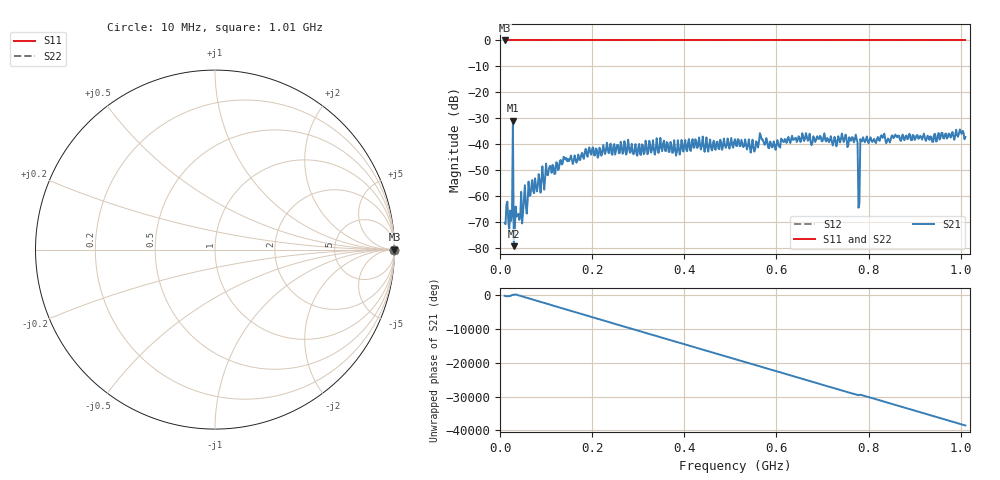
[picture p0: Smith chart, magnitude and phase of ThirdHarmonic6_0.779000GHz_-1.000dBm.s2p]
! 8/16/2025 2:01:00 AM
! C:\ANRITSUVNA\TEMP\TEMP.S2P
! CHANNEL.1
! TR.MEASUREMENT
! RAW.DATA
! RF.CORRECTION.OFF
! AVERAGING.OFF
! IF.BANDWIDTH: 5KHZ
! SWEEPTYPE:  FREQ.SWEEP(Linear)
! Reference Plane Port Info
! PORT:  PORT1  PORT2
! DISTANCE:  0  m  0  m
! TIME:  0  s  0  s
! PHASE.OFFSET:  0  deg.  0  deg.
! LOSS:  0  dB  0  dB
! REF.LOSS:  0  dB  0  dB
! REF.FREQ:  0  Hz  0  Hz
! Power Info
! POWER:  -20  dBm  -20  dBm
! EFF.POWER:  -20  dBm  -20  dBm
! SOURCE.ATTEN:  0  dB  0  dB
! TEST.ATTEN:  0  dB  0  dB
# GHZ S RI R 50.0
! FREQ.GHZ  S11RE  S11IM  S21RE  S21IM  S12RE  S12IM  S22RE  S22IM
!; PortSelection: Port_12
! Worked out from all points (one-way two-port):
!   501 points, 10 MHz to 1.01 GHz, reference 50 ohm
!   highest |S21| = -30.91 dB at 28 MHz (marker M1); lowest = -79.4 dB at 30 MHz (marker M2)
!   lowest |S11| = 0.0 dB at 10 MHz (marker M3)
!   |S11| at or under -10 dB: nowhere
!   |S22| runs from 0.0 to 0.0 dB; largest |S21 - S12| = 1
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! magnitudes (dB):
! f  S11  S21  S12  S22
! 10 MHz  0.0  -70.4  0.0  0.0
! 22 MHz  0.0  -65.6  0.0  0.0
! 24 MHz  0.0  -69.6  0.0  0.0
! 28 MHz  0.0  -30.9  0.0  0.0
! 30 MHz  0.0  -79.4  0.0  0.0
! 32 MHz  0.0  -73.6  0.0  0.0
! 34 MHz  0.0  -64.1  0.0  0.0
! 66 MHz  0.0  -59.8  0.0  0.0
! 92 MHz  0.0  -48.6  0.0  0.0
! 104 MHz  0.0  -52.0  0.0  0.0
! 178 MHz  0.0  -43.3  0.0  0.0
! 344 MHz  0.0  -43.4  0.0  0.0
! 510 MHz  0.0  -38.1  0.0  0.0
! 678 MHz  0.0  -39.4  0.0  0.0
! 770 MHz  0.0  -38.4  0.0  0.0
! 772 MHz  0.0  -36.3  0.0  0.0
! 776 MHz  0.0  -39.5  0.0  0.0
! 780 MHz  0.0  -63.0  0.0  0.0
! 782 MHz  0.0  -38.0  0.0  0.0
! 786 MHz  0.0  -38.9  0.0  0.0
! 844 MHz  0.0  -38.3  0.0  0.0
! 1.01 GHz  0.0  -37.3  0.0  0.0
